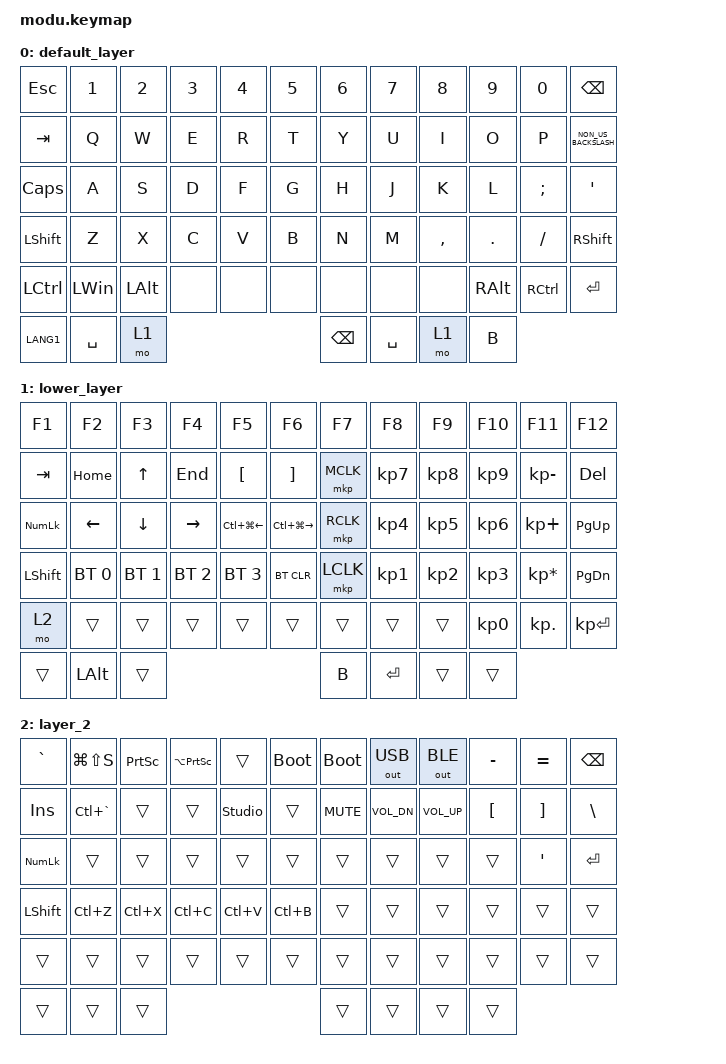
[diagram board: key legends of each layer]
/*
 * Copyright (c) 2026 EKS Inc.
 * Created by Ryu.
 * SPDX-License-Identifier: LicenseRef-EKS-NonCommercial-1.0
 *
 * Unofficial modification, based on upstream commit
 * bee0bb4b812f63f279eb67e928accc89600b5904 and customized through
 * Keymap Editor for GitHub Actions builds.
 */

#include <behaviors.dtsi>
#include <dt-bindings/zmk/bt.h>
#include <dt-bindings/zmk/keys.h>
#include <dt-bindings/zmk/outputs.h>
#include <dt-bindings/zmk/pointing.h>

/ {
    combos {
        compatible = "zmk,combos";

        reset {
            bindings = <&sys_reset>;
            key-positions = <48 5 6>;
            layers = <1>;
        };
    };

    keymap {
        compatible = "zmk,keymap";

        default_layer {
            // -----------------------------------------------------------------
            // |ESC | 1  | 2  | 3  | 4  | 5  |   | 6  | 7  | 8  | 9  | 0  |DEL |
            // |TAB | Q  | W  | E  | R  | T  |   | Y  | U  | I  | O  | P  |HOME|
            // |CAPS| A  | S  | D  | F  | G  |   | H  | J  | K  | L  | ;  |PGUP|
            // |LSFT| Z  | X  | C  | V  | B  |   | N  | M  | ,  | .  | /  |PGDN|
            // |LCTL|LALT|LGUI|                                 |RALT|RCTL|END |
            //                |LANG|SPC |MO1 |   |BSPC|RET |MO1 | B  |

            bindings = <
&kp ESC    &kp N1        &kp N2        &kp N3  &kp N4  &kp N5  &kp N6         &kp N7     &kp N8     &kp N9    &kp N0     &kp BACKSPACE
&kp TAB    &kp Q         &kp W         &kp E   &kp R   &kp T   &kp Y          &kp U      &kp I      &kp O     &kp P      &kp NON_US_BACKSLASH
&kp CAPS   &kp A         &kp S         &kp D   &kp F   &kp G   &kp H          &kp J      &kp K      &kp L     &kp SEMI   &kp SQT
&kp LSHFT  &kp Z         &kp X         &kp C   &kp V   &kp B   &kp N          &kp M      &kp COMMA  &kp DOT   &kp FSLH   &kp RSHIFT
&kp LCTRL  &kp LEFT_WIN  &kp LEFT_ALT  &none   &none   &none   &none          &none      &none      &kp RALT  &kp RCTRL  &kp ENTER
&kp LANG1  &kp SPACE     &mo 1                                 &kp BACKSPACE  &kp SPACE  &mo 1      &kp B
            >;
        };

        lower_layer {
            bindings = <
&kp F1          &kp F2        &kp F3        &kp F4        &kp F5                  &kp F6             &kp F7     &kp F8     &kp F9     &kp F10    &kp F11          &kp F12
&kp TAB         &kp HOME      &kp UP        &kp END       &kp LEFT_BRACKET        &kp RIGHT_BRACKET  &mkp MCLK  &kp KP_N7  &kp KP_N8  &kp KP_N9  &kp KP_MINUS     &kp DELETE
&kp KP_NUMLOCK  &kp LEFT      &kp DOWN      &kp RIGHT     &kp LC(LG(LEFT_ARROW))  &kp LC(LG(RIGHT))  &mkp RCLK  &kp KP_N4  &kp KP_N5  &kp KP_N6  &kp KP_PLUS      &kp PAGE_UP
&kp LSHIFT      &bt BT_SEL 0  &bt BT_SEL 1  &bt BT_SEL 2  &bt BT_SEL 3            &bt BT_CLR         &mkp LCLK  &kp KP_N1  &kp KP_N2  &kp KP_N3  &kp KP_MULTIPLY  &kp PAGE_DOWN
&mo 2           &trans        &trans        &trans        &trans                  &trans             &trans     &trans     &trans     &kp KP_N0  &kp KP_DOT       &kp KP_ENTER
&trans          &kp LEFT_ALT  &trans                                                                 &kp B      &kp ENTER  &trans     &trans
            >;
        };

        layer_2 {
            bindings = <
&kp GRAVE       &kp LG(LS(S))  &kp PRINTSCREEN  &kp LA(PRINTSCREEN)  &trans          &bootloader  &bootloader  &out OUT_USB  &out OUT_BLE     &kp MINUS         &kp EQUAL          &kp BACKSPACE
&kp INSERT      &kp LC(GRAVE)  &trans           &trans               &studio_unlock  &trans       &kp C_MUTE   &kp C_VOL_DN  &kp C_VOLUME_UP  &kp LEFT_BRACKET  &kp RIGHT_BRACKET  &kp BACKSLASH
&kp KP_NUMLOCK  &trans         &trans           &trans               &trans          &trans       &trans       &trans        &trans           &trans            &kp SINGLE_QUOTE   &kp ENTER
&kp LSHIFT      &kp LC(Z)      &kp LC(X)        &kp LC(C)            &kp LC(V)       &kp LC(B)    &trans       &trans        &trans           &trans            &trans             &trans
&trans          &trans         &trans           &trans               &trans          &trans       &trans       &trans        &trans           &trans            &trans             &trans
&trans          &trans         &trans                                                             &trans       &trans        &trans           &trans
            >;
        };
    };
};
